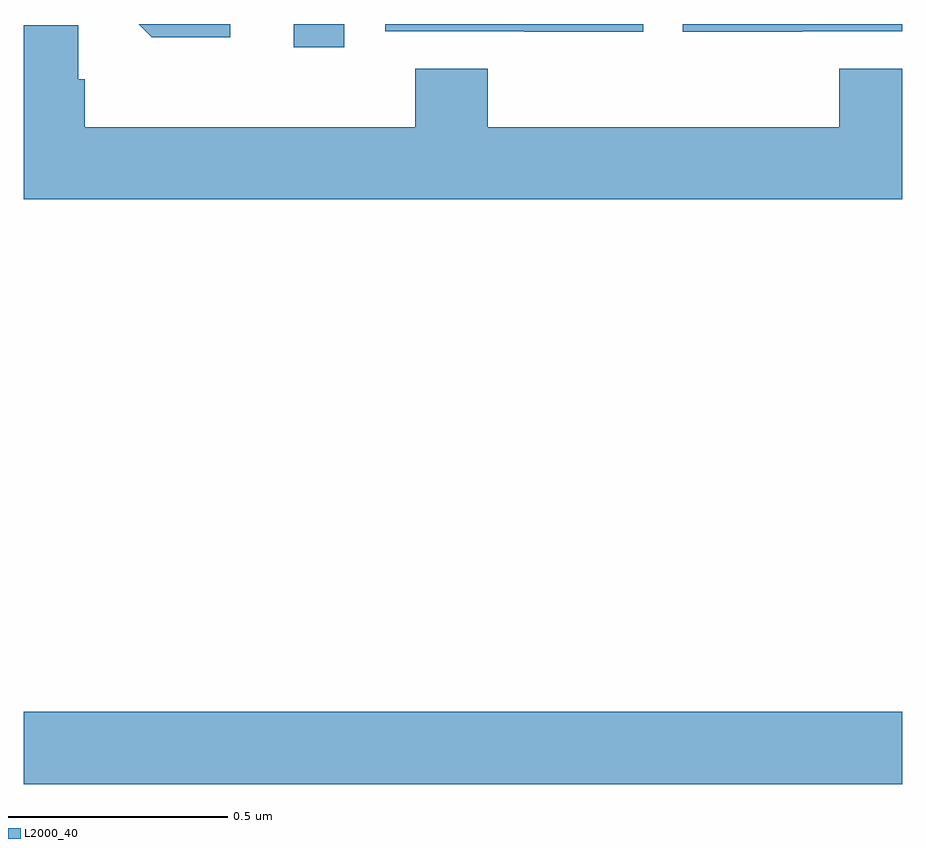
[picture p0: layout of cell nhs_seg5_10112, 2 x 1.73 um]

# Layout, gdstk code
import gdstk
lib = gdstk.Library(unit=1e-6, precision=1e-09)
def R(c, l, rs):  # rectangles x0, y0, x1, y1
    for r in rs: c.add(gdstk.rectangle(r[:2], r[2:], *l))
def P(c, l, *ps):  # polygons
    for p in ps: c.add(gdstk.Polygon(p, *l))
L2000_40 = (2000, 40)

nhs_seg5_10112 = lib.new_cell('nhs_seg5_10112')
R(nhs_seg5_10112, L2000_40, [(242,882.068,244,882.232), (242.615,883.746,242.73,883.799)])
P(nhs_seg5_10112, L2000_40, [(243.773,883.782),(244,883.782),(244,883.799),(243.501,883.799),(243.501,883.781),(243.773,883.781)],
  [(243.411,883.799),(242.823,883.799),(242.823,883.782),(243.139,883.782),(243.139,883.781),(243.411,883.781)],
  [(242.47,883.799),(242.261,883.799),(242.291,883.769),(242.47,883.769)],
  [(244,883.697),(243.857,883.697),(243.857,883.564),(243.056,883.564),(243.056,883.697),(242.891,883.697),(242.891,883.564),(242.138,883.564),(242.138,883.673),(242.124,883.673),(242.124,883.796),(242,883.796),(242,883.4),(244,883.4)])

lib.write_gds('nhs_seg5_10112.gds')
